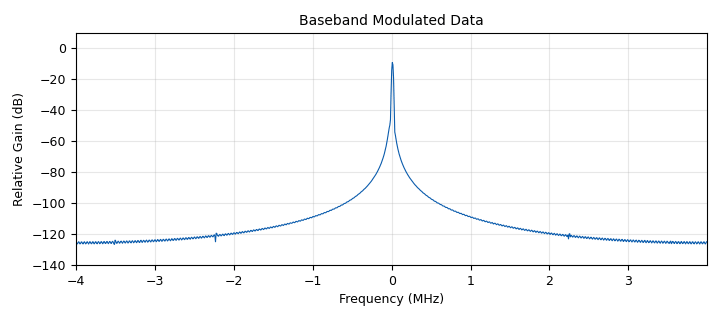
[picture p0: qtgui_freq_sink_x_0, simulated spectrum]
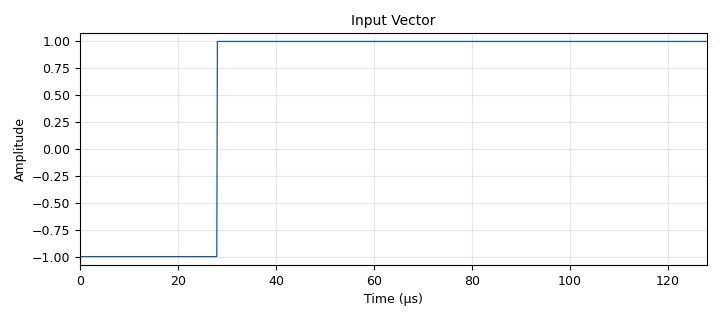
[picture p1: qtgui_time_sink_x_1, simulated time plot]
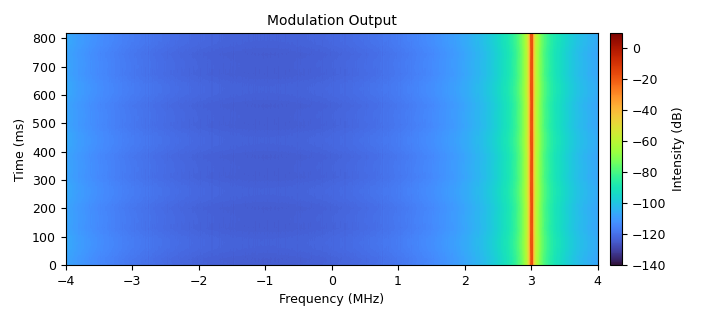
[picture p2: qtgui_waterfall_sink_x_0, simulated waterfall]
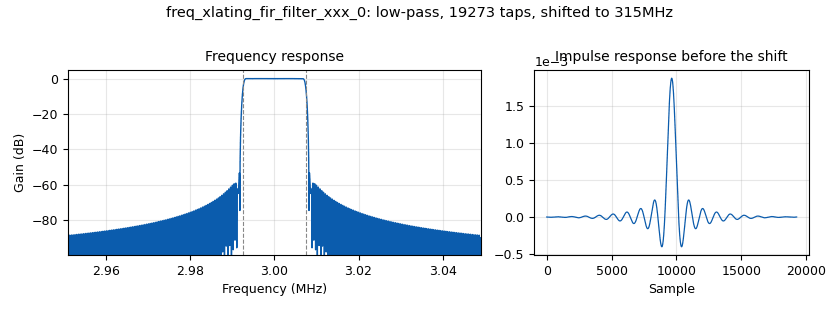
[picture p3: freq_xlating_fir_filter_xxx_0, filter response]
options:
  parameters:
    author: Rkear
    generate_options: qt_gui
    id: Lab3_FSK
    output_language: python
    title: Not titled yet
  states: {}

blocks:
- name: center_freq
  id: variable
  parameters:
    value: 313e6
  states: {}
- name: filter_cutoff
  id: variable
  parameters:
    value: 7.5e3
  states: {}
- name: filter_transition
  id: variable
  parameters:
    value: 1e3
  states: {}
- name: freq
  id: variable_qtgui_entry
  parameters:
    type: real
    value: 315e6
  states: {}
- name: fsk_deviation_hz
  id: variable_qtgui_range
  parameters:
    start: 1e3
    step: 5e3
    stop: 200e3
    value: 10e3
  states: {}
- name: gain
  id: variable
  parameters:
    value: 1e3
  states: {}
- name: samp_rate
  id: variable
  parameters:
    value: 8e6
  states: {}
- name: threshold
  id: variable_qtgui_entry
  parameters:
    type: real
    value: '.5'
  states: {}
- name: working_samp_rate
  id: variable
  parameters:
    value: 400e3
  states: {}
- name: analog_frequency_modulator_fc_0
  id: analog_frequency_modulator_fc
  parameters:
    sensitivity: (2*math.pi*fsk_deviation_hz)/samp_rate
  states: {}
- name: analog_quadrature_demod_cf_0
  id: analog_quadrature_demod_cf
  parameters:
    gain: samp_rate/(2*math.pi*fsk_deviation_hz)
  states: {}
- name: analog_sig_source_x_0
  id: analog_sig_source_x
  parameters:
    amp: '1'
    freq: freq
    offset: '0'
    phase: '0'
    samp_rate: samp_rate
    type: complex
    waveform: analog.GR_COS_WAVE
  states: {}
- name: blocks_add_const_vxx_0
  id: blocks_add_const_vxx
  parameters:
    const: '-.5'
    type: float
  states: {}
- name: blocks_multiply_xx_0
  id: blocks_multiply_xx
  parameters:
    type: complex
  states: {}
- name: blocks_null_sink_0
  id: blocks_null_sink
  parameters:
    type: float
  states: {}
- name: blocks_repeat_0
  id: blocks_repeat
  parameters:
    interp: '600'
    type: float
  states: {}
- name: blocks_throttle2_0
  id: blocks_throttle2
  parameters:
    samples_per_second: samp_rate
    type: complex
  states: {}
- name: blocks_uchar_to_float_0
  id: blocks_uchar_to_float
  parameters: {}
  states: {}
- name: blocks_vector_source_x_0
  id: blocks_vector_source_x
  parameters:
    repeat: 'True'
    type: float
    vector: (-1, 1, 1, 1, -1, 1, -1, -1, 1, 1, -1, -1, -1, 1, 1,-1,1,1,-1,-1,-1,1,-1,-1,1,1,1)
  states: {}
- name: digital_binary_slicer_fb_0
  id: digital_binary_slicer_fb
  parameters: {}
  states: {}
- name: freq_xlating_fir_filter_xxx_0
  id: freq_xlating_fir_filter_xxx
  parameters:
    center_freq: freq
    decim: '20'
    samp_rate: samp_rate
    taps: firdes.low_pass(1,samp_rate,filter_cutoff,filter_transition)
    type: ccc
  states: {}
- name: import_0
  id: import
  parameters:
    imports: math
  states: {state: disabled}
- name: qtgui_freq_sink_x_0
  id: qtgui_freq_sink_x
  parameters:
    bw: samp_rate
    fc: '0'
    fftsize: '1024'
    name: '"Baseband Modulated Data"'
    type: complex
  states: {}
- name: qtgui_time_sink_x_0
  id: qtgui_time_sink_x
  parameters:
    name: '"Output Vector"'
    size: '1024'
    srate: samp_rate
    type: float
  states: {state: disabled}
- name: qtgui_time_sink_x_1
  id: qtgui_time_sink_x
  parameters:
    name: '"Input Vector"'
    size: '1024'
    srate: samp_rate
    type: float
  states: {}
- name: qtgui_time_sink_x_2
  id: qtgui_time_sink_x
  parameters:
    size: '1024'
    srate: samp_rate
    type: float
  states: {state: disabled}
- name: qtgui_waterfall_sink_x_0
  id: qtgui_waterfall_sink_x
  parameters:
    bw: samp_rate
    fc: '0'
    fftsize: '32768'
    name: '"Modulation Output"'
    type: complex
  states: {}
- name: qtgui_waterfall_sink_x_0_0
  id: qtgui_waterfall_sink_x
  parameters:
    bw: samp_rate
    fc: freq
    fftsize: '1024'
    name: '"Demodulator Input"'
    type: complex
  states: {state: disabled}
- name: virtual_sink_0
  id: virtual_sink
  parameters: {}
  states: {}
- name: virtual_source_0
  id: virtual_source
  parameters: {}
  states: {}

connections:
- [analog_frequency_modulator_fc_0, '0', blocks_multiply_xx_0, '0']
- [analog_frequency_modulator_fc_0, '0', qtgui_freq_sink_x_0, '0']
- [analog_quadrature_demod_cf_0, '0', blocks_add_const_vxx_0, '0']
- [analog_quadrature_demod_cf_0, '0', qtgui_time_sink_x_2, '0']
- [analog_sig_source_x_0, '0', blocks_throttle2_0, '0']
- [blocks_add_const_vxx_0, '0', digital_binary_slicer_fb_0, '0']
- [blocks_multiply_xx_0, '0', qtgui_waterfall_sink_x_0, '0']
- [blocks_multiply_xx_0, '0', virtual_sink_0, '0']
- [blocks_repeat_0, '0', analog_frequency_modulator_fc_0, '0']
- [blocks_repeat_0, '0', qtgui_time_sink_x_1, '0']
- [blocks_throttle2_0, '0', blocks_multiply_xx_0, '1']
- [blocks_uchar_to_float_0, '0', blocks_null_sink_0, '0']
- [blocks_uchar_to_float_0, '0', qtgui_time_sink_x_0, '0']
- [blocks_vector_source_x_0, '0', blocks_repeat_0, '0']
- [digital_binary_slicer_fb_0, '0', blocks_uchar_to_float_0, '0']
- [freq_xlating_fir_filter_xxx_0, '0', analog_quadrature_demod_cf_0, '0']
- [freq_xlating_fir_filter_xxx_0, '0', qtgui_waterfall_sink_x_0_0, '0']
- [virtual_source_0, '0', freq_xlating_fir_filter_xxx_0, '0']

metadata:
  file_format: 1
  grc_version: 3.10.7.0
